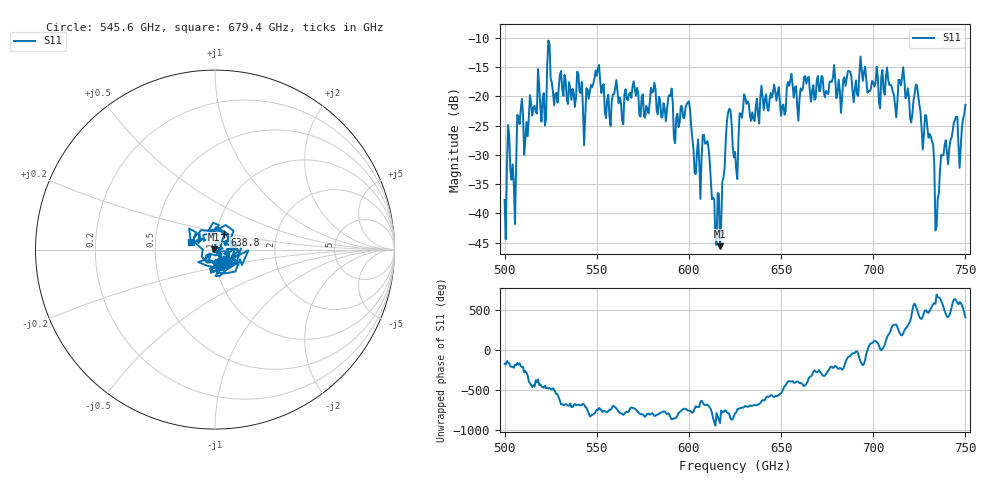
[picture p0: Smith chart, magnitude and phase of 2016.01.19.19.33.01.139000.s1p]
!Created with skrf (http://scikit-rf.org).
# GHz S RI R 50.0
!freq ReS11 ImS11
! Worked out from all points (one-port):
!   401 points, 500 GHz to 750 GHz, reference 50 ohm
!   lowest |S11| = -45.6 dB at 616.9 GHz (marker M1), VSWR 1.01, Z = 49.5 + j0.0789 ohm
!   |S11| at or under -10 dB: start of sweep to end of sweep
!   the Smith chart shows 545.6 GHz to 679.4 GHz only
!   S11 on the Smith chart (normalised r, x): 545.6 GHz: 1.05, -0.19; 638.8 GHz: 1.09, +0.19; 679.4 GHz: 0.76, +0.07
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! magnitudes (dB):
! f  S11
! 500 GHz  -37.7
! 502.5 GHz  -26.7
! 505 GHz  -35.0
! 508.1 GHz  -24.7
! 521.2 GHz  -19.4
! 524.4 GHz  -11.1
! 531.2 GHz  -18.8
! 545.6 GHz  -20.4
! 562.5 GHz  -20.2
! 580.6 GHz  -19.2
! 593.8 GHz  -23.0
! 599.4 GHz  -21.0
! 603.1 GHz  -33.2
! 608.8 GHz  -28.1
! 613.8 GHz  -37.7
! 616.9 GHz  -45.6
! 621.2 GHz  -22.8
! 625 GHz  -29.5
! 630.6 GHz  -20.3
! 638.8 GHz  -20.1
! 656.2 GHz  -18.1
! 679.4 GHz  -16.9
! 687.5 GHz  -15.8
! 718.8 GHz  -18.6
! 729.4 GHz  -25.3
! 735 GHz  -37.4
! 738.1 GHz  -29.9
! 750 GHz  -21.4
